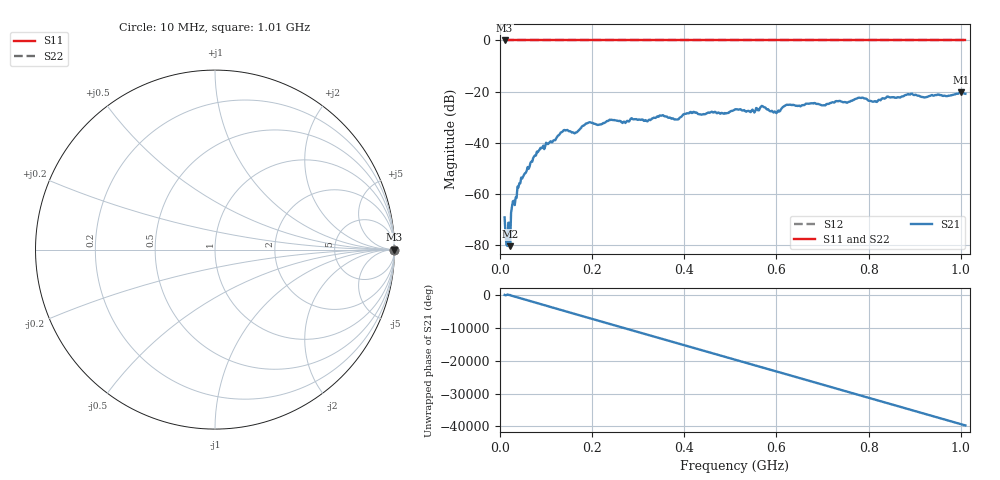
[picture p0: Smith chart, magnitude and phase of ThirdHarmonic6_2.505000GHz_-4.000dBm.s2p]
! 8/17/2025 4:49:44 AM
! C:\ANRITSUVNA\TEMP\TEMP.S2P
! CHANNEL.1
! TR.MEASUREMENT
! RAW.DATA
! RF.CORRECTION.OFF
! AVERAGING.OFF
! IF.BANDWIDTH: 5KHZ
! SWEEPTYPE:  FREQ.SWEEP(Linear)
! Reference Plane Port Info
! PORT:  PORT1  PORT2
! DISTANCE:  0  m  0  m
! TIME:  0  s  0  s
! PHASE.OFFSET:  0  deg.  0  deg.
! LOSS:  0  dB  0  dB
! REF.LOSS:  0  dB  0  dB
! REF.FREQ:  0  Hz  0  Hz
! Power Info
! POWER:  -20  dBm  -20  dBm
! EFF.POWER:  -20  dBm  -20  dBm
! SOURCE.ATTEN:  0  dB  0  dB
! TEST.ATTEN:  0  dB  0  dB
# GHZ S RI R 50.0
! FREQ.GHZ  S11RE  S11IM  S21RE  S21IM  S12RE  S12IM  S22RE  S22IM
!; PortSelection: Port_12
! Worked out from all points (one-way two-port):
!   501 points, 10 MHz to 1.01 GHz, reference 50 ohm
!   highest |S21| = -20.30 dB at 1 GHz (marker M1); lowest = -80.5 dB at 22 MHz (marker M2)
!   lowest |S11| = 0.0 dB at 10 MHz (marker M3)
!   |S11| at or under -10 dB: nowhere
!   |S22| runs from 0.0 to 0.0 dB; largest |S21 - S12| = 1.1
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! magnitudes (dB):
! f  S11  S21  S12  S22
! 10 MHz  0.0  -69.2  0.0  0.0
! 18 MHz  0.0  -71.3  0.0  0.0
! 22 MHz  0.0  -80.5  0.0  0.0
! 28 MHz  0.0  -62.9  0.0  0.0
! 42 MHz  0.0  -55.8  0.0  0.0
! 84 MHz  0.0  -43.2  0.0  0.0
! 136 MHz  0.0  -35.6  0.0  0.0
! 164 MHz  0.0  -36.0  0.0  0.0
! 178 MHz  0.0  -33.6  0.0  0.0
! 344 MHz  0.0  -29.9  0.0  0.0
! 384 MHz  0.0  -30.9  0.0  0.0
! 416 MHz  0.0  -28.4  0.0  0.0
! 510 MHz  0.0  -27.0  0.0  0.0
! 570 MHz  0.0  -25.7  0.0  0.0
! 598 MHz  0.0  -28.0  0.0  0.0
! 622 MHz  0.0  -25.2  0.0  0.0
! 678 MHz  0.0  -24.6  0.0  0.0
! 782 MHz  0.0  -22.5  0.0  0.0
! 814 MHz  0.0  -23.7  0.0  0.0
! 844 MHz  0.0  -22.1  0.0  0.0
! 1 GHz  0.0  -20.3  0.0  0.0
! 1.01 GHz  0.0  -20.8  0.0  0.0
